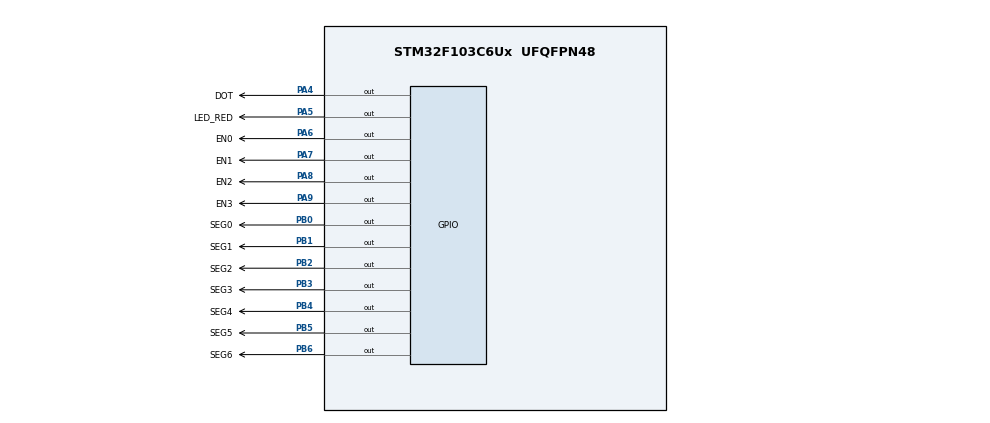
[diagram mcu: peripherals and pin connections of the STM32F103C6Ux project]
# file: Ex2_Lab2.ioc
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Mcu.Family=STM32F1
Mcu.Name=STM32F103C6Ux
Mcu.Package=UFQFPN48
NVIC.PriorityGroup=NVIC_PRIORITYGROUP_4
NVIC.TIM2_IRQn=true\:0\:0\:false\:false\:true\:true\:true\:true
PA4.GPIO_Label=DOT
PA4.Signal=GPIO_Output
PA5.GPIO_Label=LED_RED
PA5.Signal=GPIO_Output
PA6.GPIO_Label=EN0
PA6.Signal=GPIO_Output
PA7.GPIO_Label=EN1
PA7.Signal=GPIO_Output
PA8.GPIO_Label=EN2
PA8.Signal=GPIO_Output
PA9.GPIO_Label=EN3
PA9.Signal=GPIO_Output
PB0.GPIO_Label=SEG0
PB0.Signal=GPIO_Output
PB1.GPIO_Label=SEG1
PB1.Signal=GPIO_Output
PB2.GPIO_Label=SEG2
PB2.Signal=GPIO_Output
PB3.GPIO_Label=SEG3
PB3.Signal=GPIO_Output
PB4.GPIO_Label=SEG4
PB4.Signal=GPIO_Output
PB5.GPIO_Label=SEG5
PB5.Signal=GPIO_Output
PB6.GPIO_Label=SEG6
PB6.Signal=GPIO_Output
ProjectManager.HeapSize=0x200
ProjectManager.StackSize=0x400
ProjectManager.TargetToolchain=STM32CubeIDE
RCC.APB1Freq_Value=8000000
RCC.APB2Freq_Value=8000000
TIM2.Period=9
TIM2.Prescaler=7999
VP_TIM2_VS_ClockSourceINT.Mode=Internal
board=custom

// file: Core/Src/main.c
/* USER CODE BEGIN Header */
/**
  ******************************************************************************
  * @file           : main.c
  * @brief          : Main program body
  ******************************************************************************
  * @attention
  *
  * Copyright (c) 2022 STMicroelectronics.
  * All rights reserved.
  *
  * This software is licensed under terms that can be found in the LICENSE file
  * in the root directory of this software component.
  * If no LICENSE file comes with this software, it is provided AS-IS.
  *
  ******************************************************************************
  */
/* USER CODE END Header */
#include "main.h"

TIM_HandleTypeDef htim2;

void SystemClock_Config(void);
static void MX_GPIO_Init(void);
static void MX_TIM2_Init(void);
/* USER CODE BEGIN PFP */
void display7SEG(int num){
	if(num==0){
		HAL_GPIO_WritePin(SEG0_GPIO_Port,SEG0_Pin,0);
		HAL_GPIO_WritePin(SEG1_GPIO_Port,SEG1_Pin,0);
		HAL_GPIO_WritePin(SEG2_GPIO_Port,SEG2_Pin,0);
		HAL_GPIO_WritePin(SEG3_GPIO_Port,SEG3_Pin,0);
		HAL_GPIO_WritePin(SEG4_GPIO_Port,SEG4_Pin,0);
		HAL_GPIO_WritePin(SEG5_GPIO_Port,SEG5_Pin,0);
		HAL_GPIO_WritePin(SEG6_GPIO_Port,SEG6_Pin,1);
	}
	if(num==1){
		HAL_GPIO_WritePin(SEG0_GPIO_Port,SEG0_Pin,1);
		HAL_GPIO_WritePin(SEG1_GPIO_Port,SEG1_Pin,0);
		HAL_GPIO_WritePin(SEG2_GPIO_Port,SEG2_Pin,0);
		HAL_GPIO_WritePin(SEG3_GPIO_Port,SEG3_Pin,1);
		HAL_GPIO_WritePin(SEG4_GPIO_Port,SEG4_Pin,1);
		HAL_GPIO_WritePin(SEG5_GPIO_Port,SEG5_Pin,1);
		HAL_GPIO_WritePin(SEG6_GPIO_Port,SEG6_Pin,1);
	}
	if(num==2){
		HAL_GPIO_WritePin(SEG0_GPIO_Port,SEG0_Pin,0);
		HAL_GPIO_WritePin(SEG1_GPIO_Port,SEG1_Pin,0);
		HAL_GPIO_WritePin(SEG2_GPIO_Port,SEG2_Pin,1);
		HAL_GPIO_WritePin(SEG3_GPIO_Port,SEG3_Pin,0);
		HAL_GPIO_WritePin(SEG4_GPIO_Port,SEG4_Pin,0);
		HAL_GPIO_WritePin(SEG5_GPIO_Port,SEG5_Pin,1);
		HAL_GPIO_WritePin(SEG6_GPIO_Port,SEG6_Pin,0);
	}
	if(num==3){
		HAL_GPIO_WritePin(SEG0_GPIO_Port,SEG0_Pin,0);
		HAL_GPIO_WritePin(SEG1_GPIO_Port,SEG1_Pin,0);
		HAL_GPIO_WritePin(SEG2_GPIO_Port,SEG2_Pin,0);
		HAL_GPIO_WritePin(SEG3_GPIO_Port,SEG3_Pin,0);
		HAL_GPIO_WritePin(SEG4_GPIO_Port,SEG4_Pin,1);
		HAL_GPIO_WritePin(SEG5_GPIO_Port,SEG5_Pin,1);
		HAL_GPIO_WritePin(SEG6_GPIO_Port,SEG6_Pin,0);
	}
	if(num==4){
		HAL_GPIO_WritePin(SEG0_GPIO_Port,SEG0_Pin,1);
		HAL_GPIO_WritePin(SEG1_GPIO_Port,SEG1_Pin,0);
		HAL_GPIO_WritePin(SEG2_GPIO_Port,SEG2_Pin,0);
		HAL_GPIO_WritePin(SEG3_GPIO_Port,SEG3_Pin,1);
		HAL_GPIO_WritePin(SEG4_GPIO_Port,SEG4_Pin,1);
		HAL_GPIO_WritePin(SEG5_GPIO_Port,SEG5_Pin,0);
		HAL_GPIO_WritePin(SEG6_GPIO_Port,SEG6_Pin,0);
	}
	if(num==5){
		HAL_GPIO_WritePin(SEG0_GPIO_Port,SEG0_Pin,0);
		HAL_GPIO_WritePin(SEG1_GPIO_Port,SEG1_Pin,1);
		HAL_GPIO_WritePin(SEG2_GPIO_Port,SEG2_Pin,0);
		HAL_GPIO_WritePin(SEG3_GPIO_Port,SEG3_Pin,0);
		HAL_GPIO_WritePin(SEG4_GPIO_Port,SEG4_Pin,1);
		HAL_GPIO_WritePin(SEG5_GPIO_Port,SEG5_Pin,0);
		HAL_GPIO_WritePin(SEG6_GPIO_Port,SEG6_Pin,0);
	}
	if(num==6){
		HAL_GPIO_WritePin(SEG0_GPIO_Port,SEG0_Pin,0);
		HAL_GPIO_WritePin(SEG1_GPIO_Port,SEG1_Pin,1);
		HAL_GPIO_WritePin(SEG2_GPIO_Port,SEG2_Pin,0);
		HAL_GPIO_WritePin(SEG3_GPIO_Port,SEG3_Pin,0);
		HAL_GPIO_WritePin(SEG4_GPIO_Port,SEG4_Pin,0);
		HAL_GPIO_WritePin(SEG5_GPIO_Port,SEG5_Pin,0);
		HAL_GPIO_WritePin(SEG6_GPIO_Port,SEG6_Pin,0);
	}
	if(num==7){
		HAL_GPIO_WritePin(SEG0_GPIO_Port,SEG0_Pin,0);
		HAL_GPIO_WritePin(SEG1_GPIO_Port,SEG1_Pin,0);
		HAL_GPIO_WritePin(SEG2_GPIO_Port,SEG2_Pin,0);
		HAL_GPIO_WritePin(SEG3_GPIO_Port,SEG3_Pin,1);
		HAL_GPIO_WritePin(SEG4_GPIO_Port,SEG4_Pin,1);
		HAL_GPIO_WritePin(SEG5_GPIO_Port,SEG5_Pin,1);
		HAL_GPIO_WritePin(SEG6_GPIO_Port,SEG6_Pin,1);
	}
	if(num==8){
		HAL_GPIO_WritePin(SEG0_GPIO_Port,SEG0_Pin,0);
		HAL_GPIO_WritePin(SEG1_GPIO_Port,SEG1_Pin,0);
		HAL_GPIO_WritePin(SEG2_GPIO_Port,SEG2_Pin,0);
		HAL_GPIO_WritePin(SEG3_GPIO_Port,SEG3_Pin,0);
		HAL_GPIO_WritePin(SEG4_GPIO_Port,SEG4_Pin,0);
		HAL_GPIO_WritePin(SEG5_GPIO_Port,SEG5_Pin,0);
		HAL_GPIO_WritePin(SEG6_GPIO_Port,SEG6_Pin,0);
	}
	if(num==9){
		HAL_GPIO_WritePin(SEG0_GPIO_Port,SEG0_Pin,0);
		HAL_GPIO_WritePin(SEG1_GPIO_Port,SEG1_Pin,0);
		HAL_GPIO_WritePin(SEG2_GPIO_Port,SEG2_Pin,0);
		HAL_GPIO_WritePin(SEG3_GPIO_Port,SEG3_Pin,0);
		HAL_GPIO_WritePin(SEG4_GPIO_Port,SEG4_Pin,1);
		HAL_GPIO_WritePin(SEG5_GPIO_Port,SEG5_Pin,0);
		HAL_GPIO_WritePin(SEG6_GPIO_Port,SEG6_Pin,0);
	}
}
/* USER CODE END PFP */

int main(void)
{

  /* MCU Configuration--------------------------------------------------------*/

  /* Reset of all peripherals, Initializes the Flash interface and the Systick. */
  HAL_Init();

  /* Configure the system clock */
  SystemClock_Config();

  /* Initialize all configured peripherals */
  MX_GPIO_Init();
  MX_TIM2_Init();
  /* USER CODE BEGIN 2 */
  HAL_GPIO_WritePin(EN0_GPIO_Port, EN0_Pin, 1);
  HAL_GPIO_WritePin(EN1_GPIO_Port, EN1_Pin, 1);
  HAL_GPIO_WritePin(EN2_GPIO_Port, EN2_Pin, 1);
  HAL_GPIO_WritePin(EN3_GPIO_Port, EN3_Pin, 1);
  HAL_GPIO_WritePin(DOT_GPIO_Port, DOT_Pin, 1);

  HAL_TIM_Base_Start_IT(&htim2);
  /* USER CODE END 2 */

  /* Infinite loop */
  while (1)
  {

  }
}

void SystemClock_Config(void)
{
  RCC_OscInitTypeDef RCC_OscInitStruct = {0};
  RCC_ClkInitTypeDef RCC_ClkInitStruct = {0};

  /** Initializes the RCC Oscillators according to the specified parameters
  * in the RCC_OscInitTypeDef structure.
  */
  RCC_OscInitStruct.OscillatorType = RCC_OSCILLATORTYPE_HSI;
  RCC_OscInitStruct.HSIState = RCC_HSI_ON;
  RCC_OscInitStruct.HSICalibrationValue = RCC_HSICALIBRATION_DEFAULT;
  RCC_OscInitStruct.PLL.PLLState = RCC_PLL_NONE;
  if (HAL_RCC_OscConfig(&RCC_OscInitStruct) != HAL_OK)
  {
    Error_Handler();
  }

  /** Initializes the CPU, AHB and APB buses clocks
  */
  RCC_ClkInitStruct.ClockType = RCC_CLOCKTYPE_HCLK|RCC_CLOCKTYPE_SYSCLK
                              |RCC_CLOCKTYPE_PCLK1|RCC_CLOCKTYPE_PCLK2;
  RCC_ClkInitStruct.SYSCLKSource = RCC_SYSCLKSOURCE_HSI;
  RCC_ClkInitStruct.AHBCLKDivider = RCC_SYSCLK_DIV1;
  RCC_ClkInitStruct.APB1CLKDivider = RCC_HCLK_DIV1;
  RCC_ClkInitStruct.APB2CLKDivider = RCC_HCLK_DIV1;

  if (HAL_RCC_ClockConfig(&RCC_ClkInitStruct, FLASH_LATENCY_0) != HAL_OK)
  {
    Error_Handler();
  }
}

static void MX_TIM2_Init(void)
{

  TIM_ClockConfigTypeDef sClockSourceConfig = {0};
  TIM_MasterConfigTypeDef sMasterConfig = {0};

  htim2.Instance = TIM2;
  htim2.Init.Prescaler = 7999;
  htim2.Init.CounterMode = TIM_COUNTERMODE_UP;
  htim2.Init.Period = 9;
  htim2.Init.ClockDivision = TIM_CLOCKDIVISION_DIV1;
  htim2.Init.AutoReloadPreload = TIM_AUTORELOAD_PRELOAD_DISABLE;
  if (HAL_TIM_Base_Init(&htim2) != HAL_OK)
  {
    Error_Handler();
  }
  sClockSourceConfig.ClockSource = TIM_CLOCKSOURCE_INTERNAL;
  if (HAL_TIM_ConfigClockSource(&htim2, &sClockSourceConfig) != HAL_OK)
  {
    Error_Handler();
  }
  sMasterConfig.MasterOutputTrigger = TIM_TRGO_RESET;
  sMasterConfig.MasterSlaveMode = TIM_MASTERSLAVEMODE_DISABLE;
  if (HAL_TIMEx_MasterConfigSynchronization(&htim2, &sMasterConfig) != HAL_OK)
  {
    Error_Handler();
  }

}

static void MX_GPIO_Init(void)
{
  GPIO_InitTypeDef GPIO_InitStruct = {0};

  /* GPIO Ports Clock Enable */
  __HAL_RCC_GPIOA_CLK_ENABLE();
  __HAL_RCC_GPIOB_CLK_ENABLE();

  /*Configure GPIO pin Output Level */
  HAL_GPIO_WritePin(GPIOA, DOT_Pin|LED_RED_Pin|EN0_Pin|EN1_Pin
                          |EN2_Pin|EN3_Pin, GPIO_PIN_RESET);

  /*Configure GPIO pin Output Level */
  HAL_GPIO_WritePin(GPIOB, SEG0_Pin|SEG1_Pin|SEG2_Pin|SEG3_Pin
                          |SEG4_Pin|SEG5_Pin|SEG6_Pin, GPIO_PIN_RESET);

  /*Configure GPIO pins : DOT_Pin LED_RED_Pin EN0_Pin EN1_Pin
                           EN2_Pin EN3_Pin */
  GPIO_InitStruct.Pin = DOT_Pin|LED_RED_Pin|EN0_Pin|EN1_Pin
                          |EN2_Pin|EN3_Pin;
  GPIO_InitStruct.Mode = GPIO_MODE_OUTPUT_PP;
  GPIO_InitStruct.Pull = GPIO_NOPULL;
  GPIO_InitStruct.Speed = GPIO_SPEED_FREQ_LOW;
  HAL_GPIO_Init(GPIOA, &GPIO_InitStruct);

  /*Configure GPIO pins : SEG0_Pin SEG1_Pin SEG2_Pin SEG3_Pin
                           SEG4_Pin SEG5_Pin SEG6_Pin */
  GPIO_InitStruct.Pin = SEG0_Pin|SEG1_Pin|SEG2_Pin|SEG3_Pin
                          |SEG4_Pin|SEG5_Pin|SEG6_Pin;
  GPIO_InitStruct.Mode = GPIO_MODE_OUTPUT_PP;
  GPIO_InitStruct.Pull = GPIO_NOPULL;
  GPIO_InitStruct.Speed = GPIO_SPEED_FREQ_LOW;
  HAL_GPIO_Init(GPIOB, &GPIO_InitStruct);

}

/* USER CODE BEGIN 4 */
int counter_LED=50;
int counter_DOT=100;
int state_LED=0;
int state_DOT=0;
void HAL_TIM_PeriodElapsedCallback(TIM_HandleTypeDef*htim){
	counter_LED--;
	counter_DOT--;
	if(counter_LED<=0){
		if(state_LED==0){
			HAL_GPIO_WritePin(EN0_GPIO_Port, EN0_Pin, 0);  //Activate led0
			HAL_GPIO_WritePin(EN3_GPIO_Port, EN3_Pin, 1);  //Disable led3
			display7SEG(1);
			state_LED=1;
		}else if(state_LED==1){
			HAL_GPIO_WritePin(EN1_GPIO_Port, EN1_Pin, 0);  //Activate led1
			HAL_GPIO_WritePin(EN0_GPIO_Port, EN0_Pin, 1);  //Disable led0
			display7SEG(2);
			state_LED=2;
		}else if(state_LED==2){
			HAL_GPIO_WritePin(EN2_GPIO_Port, EN2_Pin, 0);  //Activate led2
			HAL_GPIO_WritePin(EN1_GPIO_Port, EN1_Pin, 1);  //Disable led1
			display7SEG(3);
			state_LED=3;
		}else if(state_LED==3){
			HAL_GPIO_WritePin(EN3_GPIO_Port, EN3_Pin, 0);  //Activate led3
			HAL_GPIO_WritePin(EN2_GPIO_Port, EN2_Pin, 1);  //Disable led2
			display7SEG(0);
			state_LED=0;
		}
		counter_LED=50;
	}
	if(counter_DOT<=0){
		if(state_DOT==0){
			HAL_GPIO_WritePin(DOT_GPIO_Port, DOT_Pin, 0);
			state_DOT=1;
		}else if(state_DOT==1){
			HAL_GPIO_WritePin(DOT_GPIO_Port, DOT_Pin, 1);
			state_DOT=0;
		}
		counter_DOT=100;
	}
}
/* USER CODE END 4 */

void Error_Handler(void)
{
  __disable_irq();
  while (1)
  {
  }
}
